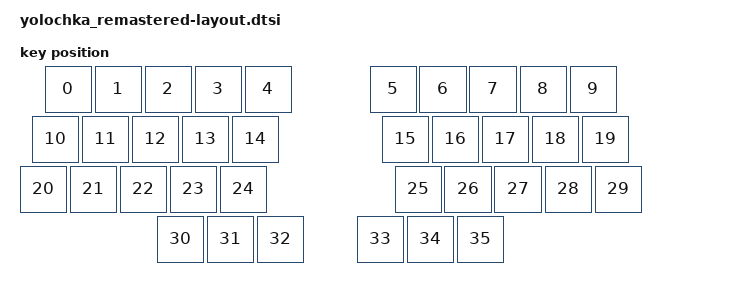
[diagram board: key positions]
#include <physical_layouts.dtsi>

/ {
    yolochka_remastered_layout: yolochka_remastered_layout_0 {
        compatible = "zmk,physical-layout";
        display-name = "Default";
        kscan = <&kscan0>;
        transform = <&default_transform>;

        keys  //                     w   h    x    y     rot    rx    ry
            = <&key_physical_attrs 100 100   50    0       0     0     0>
            , <&key_physical_attrs 100 100  150    0       0     0     0>
            , <&key_physical_attrs 100 100  250    0       0     0     0>
            , <&key_physical_attrs 100 100  350    0       0     0     0>
            , <&key_physical_attrs 100 100  450    0       0     0     0>
            , <&key_physical_attrs 100 100  700    0       0     0     0>
            , <&key_physical_attrs 100 100  800    0       0     0     0>
            , <&key_physical_attrs 100 100  900    0       0     0     0>
            , <&key_physical_attrs 100 100 1000    0       0     0     0>
            , <&key_physical_attrs 100 100 1100    0       0     0     0>
            , <&key_physical_attrs 100 100   25  100       0     0     0>
            , <&key_physical_attrs 100 100  125  100       0     0     0>
            , <&key_physical_attrs 100 100  225  100       0     0     0>
            , <&key_physical_attrs 100 100  325  100       0     0     0>
            , <&key_physical_attrs 100 100  425  100       0     0     0>
            , <&key_physical_attrs 100 100  725  100       0     0     0>
            , <&key_physical_attrs 100 100  825  100       0     0     0>
            , <&key_physical_attrs 100 100  925  100       0     0     0>
            , <&key_physical_attrs 100 100 1025  100       0     0     0>
            , <&key_physical_attrs 100 100 1125  100       0     0     0>
            , <&key_physical_attrs 100 100    0  200       0     0     0>
            , <&key_physical_attrs 100 100  100  200       0     0     0>
            , <&key_physical_attrs 100 100  200  200       0     0     0>
            , <&key_physical_attrs 100 100  300  200       0     0     0>
            , <&key_physical_attrs 100 100  400  200       0     0     0>
            , <&key_physical_attrs 100 100  750  200       0     0     0>
            , <&key_physical_attrs 100 100  850  200       0     0     0>
            , <&key_physical_attrs 100 100  950  200       0     0     0>
            , <&key_physical_attrs 100 100 1050  200       0     0     0>
            , <&key_physical_attrs 100 100 1150  200       0     0     0>
            , <&key_physical_attrs 100 100  275  300       0     0     0>
            , <&key_physical_attrs 100 100  375  300       0     0     0>
            , <&key_physical_attrs 100 100  475  300       0     0     0>
            , <&key_physical_attrs 100 100  675  300       0     0     0>
            , <&key_physical_attrs 100 100  775  300       0     0     0>
            , <&key_physical_attrs 100 100  875  300       0     0     0>
            ;
    };

    yolochka_remastered_position_map {
        compatible = "zmk,physical-layout-position-map";
        complete;
        origin {
            physical-layout = <&yolochka_remastered_layout>;
            positions
                = < 0  1  2  3  4  5  6  7  8  9>
                , <10 11 12 13 14 15 16 17 18 19>
                , <20 21 22 23 24 25 26 27 28 29>
                , <      30 31 32 33 34 35      >;
        };

    };
};

